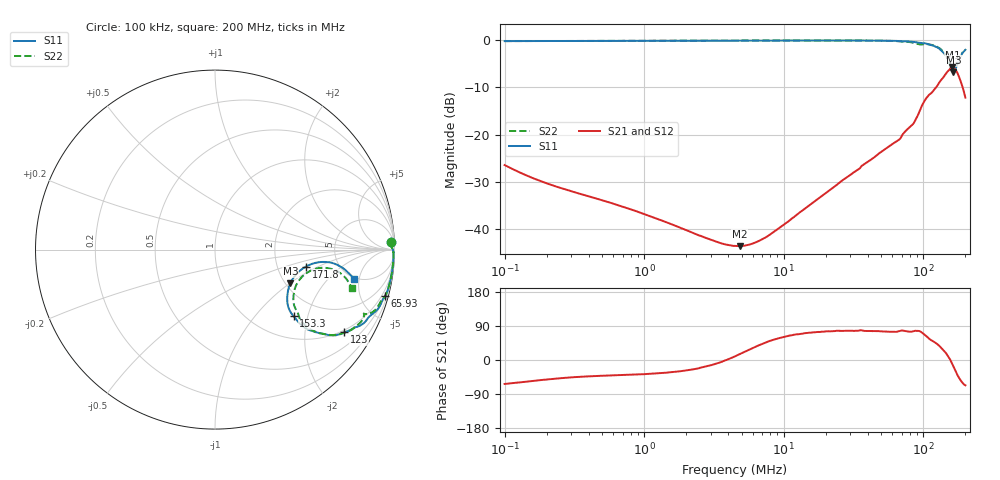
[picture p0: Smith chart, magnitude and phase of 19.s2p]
#  HZ  S  RI  R  50.00
! Rohde & Schwarz Vector Network Analyzer
! Rohde-Schwarz,ZNLE6-2Port,1323001256200024,1.71.1.10-23.02.1.238
! Created: UTC 4/7/2025, 7:27:37 AM
! freq[Hz]  re:S11  im:S11  re:S21  im:S21  re:S12  im:S12  re:S22  im:S22
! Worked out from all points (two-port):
!   1001 points, 100 kHz to 200 MHz, reference 50 ohm
!   highest |S21| = -5.73 dB at 161.7 MHz (marker M1); lowest = -43.6 dB at 4.825 MHz (marker M2)
!   |S21| within 3 dB of the highest: 131.5 MHz to 185.2 MHz (53.72 MHz wide, 33.9 % of centre)
!   lowest |S11| = -6.7 dB at 164.1 MHz (marker M3), VSWR 2.70, Z = 106 - j50.4 ohm
!   |S11| at or under -10 dB: nowhere
!   |S22| runs from -6.1 to 0.0 dB; largest |S21 - S12| = 0.017
!   S11 on the Smith chart (normalised r, x): 100 kHz: 18, +38; 65.93 MHz: 0.48, -7.40; 123 MHz: 0.93, -3.17; 153.3 MHz: 1.48, -1.63; 171.8 MHz: 2.92, -0.75; 200 MHz: 4.84, -4.25
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100000  0.9788 0.0421  0.0215 -0.0426  0.0215 -0.0427  0.9788 0.0422
355854.1  0.9832 0.0153  0.0168 -0.0163  0.0168 -0.0163  0.9834 0.0153
1266322  0.9896 0.00419  0.0104 -0.00731  0.0104 -0.00733  0.9896 0.00392
3200882  0.9926 -0.00635  0.00731 -0.00141  0.00728 -0.00147  0.9932 -0.0066
4472136  0.9933 -0.0123  0.00653 0.00111  0.00652 0.00102  0.9942 -0.0121
4825311  0.9937 -0.0138  0.00636 0.00176  0.00639 0.0016  0.9944 -0.013
7441903  0.994 -0.0245  0.00567 0.00594  0.00572 0.00588  0.9945 -0.0252
1.591428e7  0.9934 -0.0573  0.00565 0.0179  0.00584 0.0178  0.9937 -0.0595
3.616581e7  0.9839 -0.1343  0.00978 0.0457  0.0111 0.0452  0.9834 -0.1384
5.663162e7  0.9649 -0.2182  0.0199 0.0723  0.0219 0.0713  0.9612 -0.2269
6.592947e7  0.948 -0.2599  0.0217 0.0843  0.0258 0.0834  0.9396 -0.2713
8.47254e7  0.9005 -0.3385  0.0321 0.1268  0.0363 0.1265  0.8732 -0.3502
9.352484e7  0.8661 -0.3677  0.0412 0.1698  0.0466 0.1692  0.8314 -0.3576
1.040259e8  0.8307 -0.4084  0.104 0.2152  0.1098 0.213  0.8254 -0.3831
1.229601e8  0.719 -0.4602  0.2253 0.2202  0.2316 0.2127  0.7327 -0.458
1.399206e8  0.5701 -0.4626  0.3713 0.1743  0.3682 0.1722  0.5851 -0.4665
1.53283e8  0.4375 -0.3705  0.4846 0.0417  0.4839 0.0328  0.4627 -0.356
1.616595e8  0.4067 -0.23  0.5059 -0.1054  0.5009 -0.1204  0.4404 -0.2374
1.641358e8  0.4203 -0.1868  0.4917 -0.1517  0.4848 -0.1669  0.4519 -0.1988
1.717946e8  0.5074 -0.0942  0.3998 -0.2604  0.3908 -0.2713  0.532 -0.1179
1.82565e8  0.6509 -0.0739  0.2463 -0.3005  0.2372 -0.3093  0.6614 -0.1115
2e8  0.776 -0.1627  0.0973 -0.2268  0.0918 -0.2322  0.7621 -0.2118
